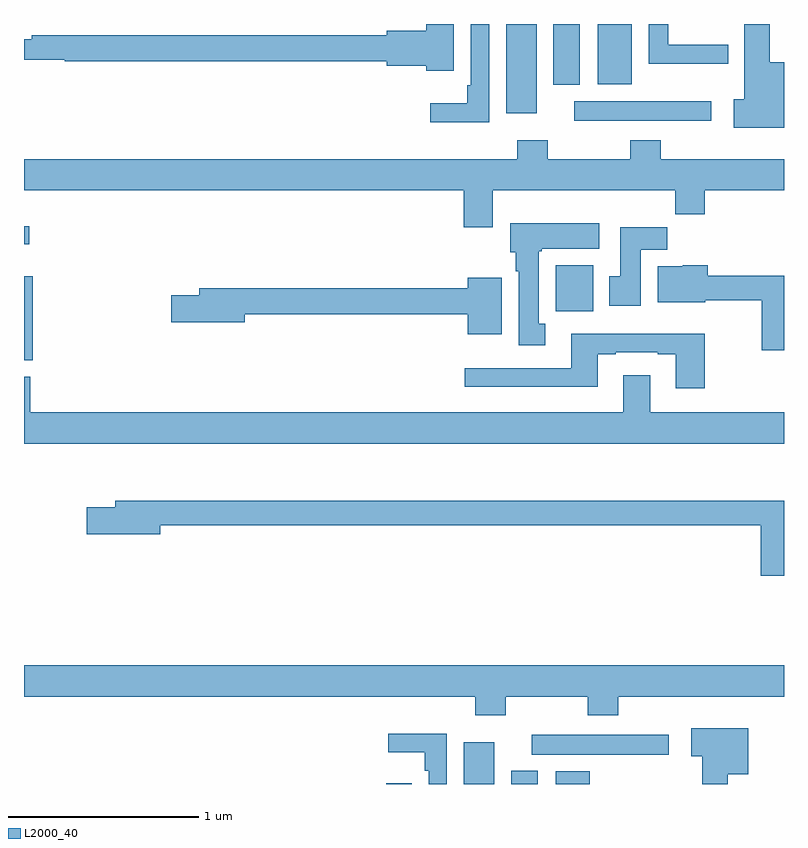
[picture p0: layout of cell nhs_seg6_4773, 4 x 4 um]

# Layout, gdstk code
import gdstk
lib = gdstk.Library(unit=1e-6, precision=1e-09)
def R(c, l, rs):  # rectangles x0, y0, x1, y1
    for r in rs: c.add(gdstk.rectangle(r[:2], r[2:], *l))
def P(c, l, *ps):  # polygons
    for p in ps: c.add(gdstk.Polygon(p, *l))
L2000_40 = (2000, 40)

nhs_seg6_4773 = lib.new_cell('nhs_seg6_4773')
R(nhs_seg6_4773, L2000_40, [(394.907,989.5,395.041,989.503), (395.315,989.5,395.476,989.719), (395.564,989.5,395.704,989.569), (395.798,989.5,395.977,989.566), (395.673,989.654,396.394,989.758), (393,991.729,393.047,992.173), (395.798,991.988,395.995,992.23), (393,992.34,393.028,992.436), (395.895,992.99,396.616,993.094), (395.537,993.03,395.698,993.5), (395.786,993.179,395.926,993.5), (396.02,993.182,396.199,993.5)])
P(nhs_seg6_4773, L2000_40, [(395.263,993.5),(395.117,993.5),(395.117,993.464),(394.91,993.464),(394.91,993.44),(393.04,993.44),(393.04,993.421),(393,993.421),(393,993.312),(393.214,993.312),(393.214,993.304),(394.91,993.304),(394.91,993.281),(395.117,993.281),(395.117,993.254),(395.263,993.254)],
  [(397,993.298),(396.926,993.298),(396.926,993.5),(396.791,993.5),(396.791,993.104),(396.735,993.104),(396.735,992.954),(397,992.954)],
  [(395.448,993.5),(395.352,993.5),(395.352,993.178),(395.332,993.178),(395.332,993.082),(395.139,993.082),(395.139,992.984),(395.448,992.984)],
  [(396.706,993.39),(396.391,993.39),(396.391,993.5),(396.287,993.5),(396.287,993.29),(396.706,993.29)],
  [(395.467,992.624),(396.427,992.624),(396.427,992.5),(396.584,992.5),(396.584,992.624),(397,992.624),(397,992.788),(396.35,992.788),(396.35,992.887),(396.19,992.887),(396.19,992.788),(395.757,992.788),(395.757,992.887),(395.597,992.887),(395.597,992.788),(393,992.788),(393,992.624),(395.315,992.624),(395.315,992.43),(395.467,992.43)],
  [(395.743,991.922),(395.71,991.922),(395.71,992.305),(395.724,992.305),(395.724,992.318),(396.028,992.318),(396.028,992.452),(395.558,992.452),(395.558,992.298),(395.588,992.298),(395.588,992.198),(395.603,992.198),(395.603,991.809),(395.743,991.809)],
  [(396.247,992.312),(396.386,992.312),(396.386,992.431),(396.137,992.431),(396.137,992.172),(396.08,992.172),(396.08,992.016),(396.247,992.016)],
  [(397,992.176),(396.599,992.176),(396.599,992.23),(396.468,992.23),(396.468,992.224),(396.335,992.224),(396.335,992.036),(396.586,992.036),(396.586,992.047),(396.883,992.047),(396.883,991.782),(397,991.782)],
  [(395.515,992.164),(395.336,992.164),(395.336,992.108),(393.923,992.108),(393.923,992.072),(393.774,992.072),(393.774,991.93),(394.162,991.93),(394.162,991.972),(395.336,991.972),(395.336,991.868),(395.515,991.868)],
  [(396.584,991.87),(395.879,991.87),(395.879,991.689),(395.319,991.689),(395.319,991.592),(396.019,991.592),(396.019,991.761),(396.115,991.761),(396.115,991.773),(396.335,991.773),(396.335,991.761),(396.431,991.761),(396.431,991.584),(396.584,991.584)],
  [(397,991.456),(396.295,991.456),(396.295,991.651),(396.155,991.651),(396.155,991.456),(393.032,991.456),(393.032,991.644),(393,991.644),(393,991.292),(397,991.292)],
  [(397,990.991),(393.479,990.991),(393.479,990.957),(393.33,990.957),(393.33,990.815),(393.718,990.815),(393.718,990.862),(396.878,990.862),(396.878,990.597),(397,990.597)],
  [(395.535,989.96),(395.968,989.96),(395.968,989.861),(396.128,989.861),(396.128,989.96),(397,989.96),(397,990.124),(393,990.124),(393,989.96),(395.375,989.96),(395.375,989.861),(395.535,989.861)],
  [(396.704,989.552),(396.811,989.552),(396.811,989.794),(396.513,989.794),(396.513,989.645),(396.569,989.645),(396.569,989.5),(396.704,989.5)],
  [(395.226,989.765),(394.917,989.765),(394.917,989.666),(395.11,989.666),(395.11,989.57),(395.13,989.57),(395.13,989.5),(395.226,989.5)])

lib.write_gds('nhs_seg6_4773.gds')
